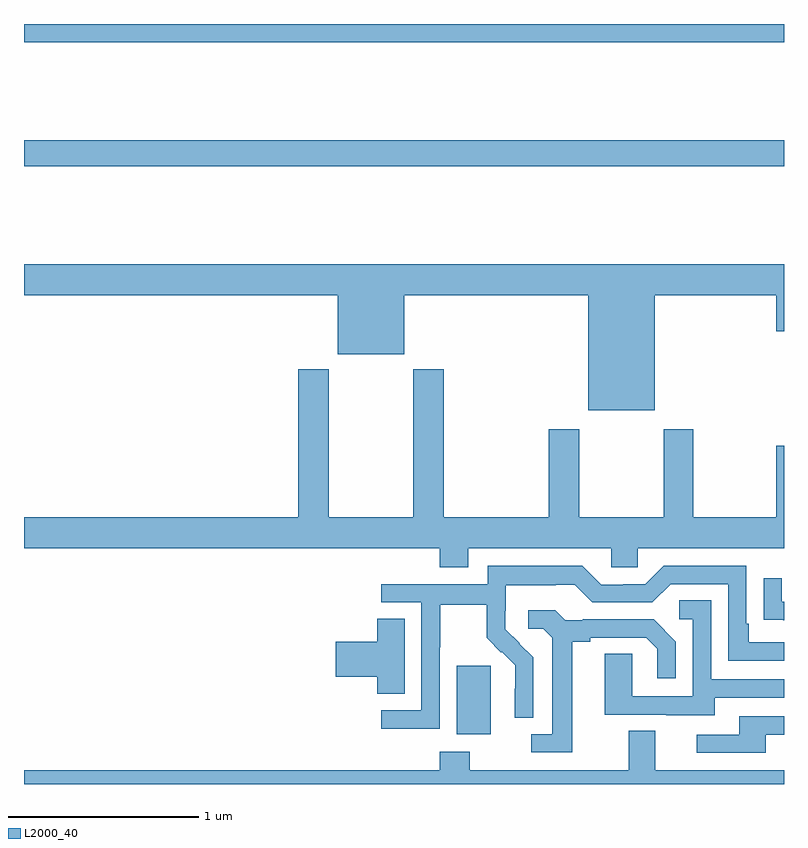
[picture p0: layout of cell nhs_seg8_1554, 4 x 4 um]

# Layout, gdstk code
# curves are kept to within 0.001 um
import gdstk
lib = gdstk.Library(unit=1e-6, precision=1e-09)
def R(c, l, rs):  # rectangles x0, y0, x1, y1
    for r in rs: c.add(gdstk.rectangle(r[:2], r[2:], *l))
def P(c, l, *ps):  # polygons
    for p in ps: c.add(gdstk.Polygon(p, *l))
L2000_40 = (2000, 40)

nhs_seg8_1554 = lib.new_cell('nhs_seg8_1554')
R(nhs_seg8_1554, L2000_40, [(211.277,1142.162,211.456,1142.523), (209,1145.152,213,1145.288), (209,1145.804,213,1145.9)])
P(nhs_seg8_1554, L2000_40, [(209,1144.472),(210.65,1144.472),(210.65,1144.163),(211,1144.163),(211,1144.472),(211.97,1144.472),(211.97,1143.866),(212.32,1143.866),(212.32,1144.472),(212.96,1144.472),(212.96,1144.284),(213,1144.284),(213,1144.636),(209,1144.636)],
  [(211.339,1143.14),(212.091,1143.14),(212.091,1143.042),(212.229,1143.042),(212.229,1143.14),(213,1143.14),(213,1143.679),(212.96,1143.679),(212.96,1143.304),(212.523,1143.304),(212.523,1143.766),(212.368,1143.766),(212.368,1143.304),(211.923,1143.304),(211.923,1143.766),(211.763,1143.766),(211.763,1143.304),(211.208,1143.304),(211.208,1144.084),(211.048,1144.084),(211.048,1143.304),(210.603,1143.304),(210.603,1144.084),(210.443,1144.084),(210.443,1143.304),(209,1143.304),(209,1143.14),(211.187,1143.14),(211.187,1143.041),(211.339,1143.041)],
  [(211.188,1142.62),(211.191,1142.62),(211.191,1142.844),(211.435,1142.844),(211.435,1142.669),(211.512,1142.592),(211.515,1142.595),(211.586,1142.525),(211.586,1142.402),(211.584,1142.402),(211.584,1142.248),(211.68,1142.248),(211.68,1142.566),(211.534,1142.714),(211.534,1142.811),(211.536,1142.811),(211.536,1142.945),(211.799,1142.945),(211.799,1142.949),(211.899,1142.949),(211.992,1142.856),(212.307,1142.856),(212.403,1142.952),(212.706,1142.952),(212.706,1142.55),(213,1142.55),(213,1142.646),(212.815,1142.646),(212.815,1142.743),(212.802,1142.743),(212.802,1143.048),(212.367,1143.048),(212.271,1142.952),(212.153,1142.952),(212.153,1142.949),(212.037,1142.949),(211.937,1143.049),(211.44,1143.049),(211.44,1142.952),(210.879,1142.952),(210.879,1142.856),(211.092,1142.856),(211.092,1142.289),(210.879,1142.289),(210.879,1142.191),(211.188,1142.191)],
  [(213,1142.859),(212.989,1142.859),(212.989,1142.983),(212.893,1142.983),(212.893,1142.764),(212.995,1142.764),(212.995,1142.763),(213,1142.763)],
  [(212.635,1142.355),(213,1142.355),(213,1142.451),(212.616,1142.451),(212.616,1142.867),(212.448,1142.867),(212.448,1142.766),(212.52,1142.766),(212.52,1142.361),(212.202,1142.361),(212.202,1142.585),(212.057,1142.585),(212.057,1142.265),(212.381,1142.265),(212.381,1142.261),(212.635,1142.261)],
  [(211.885,1142.648),(211.981,1142.648),(211.981,1142.67),(212.276,1142.67),(212.333,1142.613),(212.333,1142.457),(212.43,1142.457),(212.43,1142.65),(212.314,1142.766),(211.942,1142.766),(211.942,1142.763),(211.848,1142.763),(211.796,1142.815),(211.653,1142.815),(211.653,1142.718),(211.734,1142.718),(211.781,1142.671),(211.781,1142.163),(211.671,1142.163),(211.671,1142.067),(211.885,1142.067)],
  [(211.003,1142.771),(210.86,1142.771),(210.86,1142.648),(210.642,1142.648),(210.642,1142.465),(210.86,1142.465),(210.86,1142.374),(211.003,1142.374)],
  [(212.905,1142.16),(213,1142.16),(213,1142.256),(212.765,1142.256),(212.765,1142.16),(212.541,1142.16),(212.541,1142.064),(212.905,1142.064)],
  [(213,1141.972),(212.323,1141.972),(212.323,1142.18),(212.183,1142.18),(212.183,1141.972),(211.347,1141.972),(211.347,1142.071),(211.187,1142.071),(211.187,1141.972),(209,1141.972),(209,1141.9),(213,1141.9)])

lib.write_gds('nhs_seg8_1554.gds')
